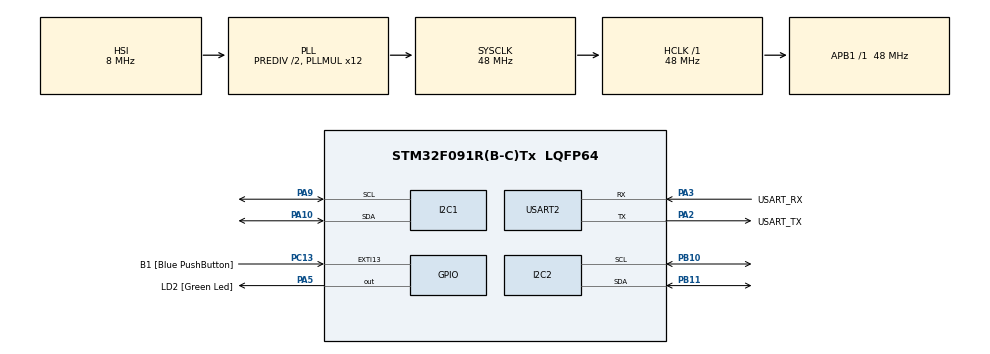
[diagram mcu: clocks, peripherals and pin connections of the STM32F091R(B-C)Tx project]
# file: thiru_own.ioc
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I2C1.Timing=0x00201D2B
I2C2.Timing=0x20303E5D
Mcu.Family=STM32F0
Mcu.Name=STM32F091R(B-C)Tx
Mcu.Package=LQFP64
PA10.Mode=I2C
PA10.Signal=I2C1_SDA
PA13.GPIO_Label=TMS
PA13.Mode=Serial_Wire
PA13.Signal=SYS_SWDIO
PA14.GPIO_Label=TCK
PA14.Mode=Serial_Wire
PA14.Signal=SYS_SWCLK
PA2.GPIO_Label=USART_TX
PA2.GPIO_Mode=GPIO_MODE_AF_PP
PA2.GPIO_PuPd=GPIO_NOPULL
PA2.GPIO_Speed=GPIO_SPEED_FREQ_LOW
PA2.Mode=Asynchronous
PA2.Signal=USART2_TX
PA3.GPIO_Label=USART_RX
PA3.GPIO_Mode=GPIO_MODE_AF_PP
PA3.GPIO_PuPd=GPIO_NOPULL
PA3.GPIO_Speed=GPIO_SPEED_FREQ_LOW
PA3.Mode=Asynchronous
PA3.Signal=USART2_RX
PA5.GPIO_Label=LD2 [Green Led]
PA5.GPIO_Mode=GPIO_MODE_OUTPUT_PP
PA5.GPIO_PuPd=GPIO_NOPULL
PA5.GPIO_Speed=GPIO_SPEED_FREQ_LOW
PA5.Signal=GPIO_Output
PA9.Mode=I2C
PA9.Signal=I2C1_SCL
PB10.Mode=I2C
PB10.Signal=I2C2_SCL
PB11.Mode=I2C
PB11.Signal=I2C2_SDA
PC13.GPIO_Label=B1 [Blue PushButton]
PC13.GPIO_ModeDefaultEXTI=GPIO_MODE_IT_FALLING
PC13.Signal=GPXTI13
PC14OSC32_IN.Mode=LSE-External-Oscillator
PC14OSC32_IN.Signal=RCC_OSC32_IN
PC15OSC32_OUT.Mode=LSE-External-Oscillator
PC15OSC32_OUT.Signal=RCC_OSC32_OUT
PF0-OSC_IN.Mode=HSE-External-Clock-Source
PF0-OSC_IN.Signal=RCC_OSC_IN
PF1-OSC_OUT.Signal=RCC_OSC_OUT
ProjectManager.HeapSize=0x200
ProjectManager.StackSize=0x400
ProjectManager.TargetToolchain=STM32CubeIDE
RCC.AHBFreq_Value=48000000
RCC.APB1Freq_Value=48000000
RCC.APB1TimFreq_Value=48000000
RCC.FLatency-AdvancedSettings=FLASH_LATENCY_1
RCC.HCLKFreq_Value=48000000
RCC.PLLDivider=RCC_PREDIV_DIV2
RCC.PLLMUL=RCC_PLL_MUL12
RCC.PREFETCH_ENABLE-AdvancedSettings=1
RCC.SYSCLKFreq_VALUE=48000000
RCC.SYSCLKSource=RCC_SYSCLKSOURCE_PLLCLK
USART2.VirtualMode=VM_ASYNC
USART2.VirtualMode-Asynchronous=VM_ASYNC
board=NUCLEO-F091RC

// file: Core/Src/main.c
/* USER CODE BEGIN Header */
/**
 ******************************************************************************
 * @file           : main.c
 * @brief          : Main program body
 ******************************************************************************
 * @attention
 *
 * Copyright (c) 2025 STMicroelectronics.
 * All rights reserved.
 *
 * This software is licensed under terms that can be found in the LICENSE file
 * in the root directory of this software component.
 * If no LICENSE file comes with this software, it is provided AS-IS.
 *
 ******************************************************************************
 */
/* USER CODE END Header */
#include "main.h"

/* USER CODE BEGIN Includes */
#include"mpu.h"
#include"bmemain.h"
/* USER CODE END Includes */

/* USER CODE BEGIN PD */
extern MPU6050_t MPU6050;
char uart_buf_2[2000];
/* USER CODE END PD */

extern I2C_HandleTypeDef hi2c1;
extern I2C_HandleTypeDef hi2c2;
extern UART_HandleTypeDef huart2;

void SystemClock_Config(void);
static void MX_GPIO_Init(void);
static void MX_USART2_UART_Init(void);
static void MX_I2C1_Init(void);
static void MX_I2C2_Init(void);

int main(void) {

	/* MCU Configuration--------------------------------------------------------*/

	/* Reset of all peripherals, Initializes the Flash interface and the Systick. */
	HAL_Init();

	/* Configure the system clock */
	SystemClock_Config();

	/* Initialize all configured peripherals */
	MX_GPIO_Init();
	MX_USART2_UART_Init();
	MX_I2C1_Init();
	MX_I2C2_Init();
	/* USER CODE BEGIN 2 */
	MPU6050_Init();
	sprintf(uart_buf_2, "Starting MPU6050 data reading...\r\n");
	HAL_UART_Transmit(&huart2, (uint8_t*) uart_buf_2, strlen(uart_buf_2),
	HAL_MAX_DELAY);
	static uint32_t valid_readings = 0;
	static uint32_t total_readings = 0;

	/* USER CODE END 2 */

	/* Infinite loop */
	/* USER CODE BEGIN WHILE */

	// Initialize and configure BME680
	struct bme680_dev gas_sensor;
	struct bme680_field_data data;

	// Initialize BME680
	if (BME680_Initialize(&gas_sensor) != BME680_OK) {
		while (1)
			; // Halt execution if initialization fails
	}

	// Configure BME680
	if (BME680_Configure(&gas_sensor) != BME680_OK) {
		while (1)
			; // Halt execution if configuration fails
	}

	/* USER CODE END 2 */

	/* Infinite loop */
	/* USER CODE BEGIN WHILE */
	while (1) {
		total_readings++;

		// MPU6050 data reading
		if (MPU6050_Read_All_Safe()) {
			valid_readings++;
			sprintf(uart_buf_2,
					"Acc: X=%.2f, Y=%.2f, Z=%.2f | Gyro: X=%.2f, Y=%.2f, Z=%.2f | Temp=%.2f°C [%lu/%lu]\r\n",
					MPU6050.Ax, MPU6050.Ay, MPU6050.Az, MPU6050.Gx, MPU6050.Gy,
					MPU6050.Gz, MPU6050.Temperature, valid_readings,
					total_readings);
			HAL_UART_Transmit(&huart2, (uint8_t*) uart_buf_2,
					strlen(uart_buf_2), HAL_MAX_DELAY);
		} else {
			sprintf(uart_buf_2,
					"Read failed! [%lu/%lu] Success rate: %.1f%%\r\n",
					valid_readings, total_readings,
					(float) valid_readings * 100.0 / total_readings);
			HAL_UART_Transmit(&huart2, (uint8_t*) uart_buf_2,
					strlen(uart_buf_2), HAL_MAX_DELAY);
		}

		HAL_Delay(125);

		// BME680 data reading
		int8_t rslt = bme680_get_sensor_data(&data, &gas_sensor);
		if (rslt == BME680_OK) {
			sprintf(uart_buf_2,
					"Temperature: %.1f °C, Pressure: %.1f hPa, Humidity: %.1f %%, Gas: %.1f kOhms\r\n",
					data.temperature / 100.0, data.pressure / 100.0,
					data.humidity / 1000.0, data.gas_resistance / 1000.0);
			HAL_UART_Transmit(&huart2, (uint8_t*) uart_buf_2,
					strlen(uart_buf_2), HAL_MAX_DELAY);
		}

		if (gas_sensor.power_mode == BME680_FORCED_MODE) {
			rslt = bme680_set_sensor_mode(&gas_sensor);
		}

		HAL_Delay(1000);
		/* USER CODE END WHILE */
	}
}

void SystemClock_Config(void) {
	RCC_OscInitTypeDef RCC_OscInitStruct = { 0 };
	RCC_ClkInitTypeDef RCC_ClkInitStruct = { 0 };
	RCC_PeriphCLKInitTypeDef PeriphClkInit = { 0 };

	/** Initializes the RCC Oscillators according to the specified parameters
	 * in the RCC_OscInitTypeDef structure.
	 */
	RCC_OscInitStruct.OscillatorType = RCC_OSCILLATORTYPE_HSI;
	RCC_OscInitStruct.HSIState = RCC_HSI_ON;
	RCC_OscInitStruct.HSICalibrationValue = RCC_HSICALIBRATION_DEFAULT;
	RCC_OscInitStruct.PLL.PLLState = RCC_PLL_ON;
	RCC_OscInitStruct.PLL.PLLSource = RCC_PLLSOURCE_HSI;
	RCC_OscInitStruct.PLL.PLLMUL = RCC_PLL_MUL12;
	RCC_OscInitStruct.PLL.PREDIV = RCC_PREDIV_DIV2;
	if (HAL_RCC_OscConfig(&RCC_OscInitStruct) != HAL_OK) {
		Error_Handler();
	}

	/** Initializes the CPU, AHB and APB buses clocks
	 */
	RCC_ClkInitStruct.ClockType = RCC_CLOCKTYPE_HCLK | RCC_CLOCKTYPE_SYSCLK
			| RCC_CLOCKTYPE_PCLK1;
	RCC_ClkInitStruct.SYSCLKSource = RCC_SYSCLKSOURCE_PLLCLK;
	RCC_ClkInitStruct.AHBCLKDivider = RCC_SYSCLK_DIV1;
	RCC_ClkInitStruct.APB1CLKDivider = RCC_HCLK_DIV1;

	if (HAL_RCC_ClockConfig(&RCC_ClkInitStruct, FLASH_LATENCY_1) != HAL_OK) {
		Error_Handler();
	}
	PeriphClkInit.PeriphClockSelection = RCC_PERIPHCLK_USART2
			| RCC_PERIPHCLK_I2C1;
	PeriphClkInit.Usart2ClockSelection = RCC_USART2CLKSOURCE_PCLK1;
	PeriphClkInit.I2c1ClockSelection = RCC_I2C1CLKSOURCE_HSI;
	if (HAL_RCCEx_PeriphCLKConfig(&PeriphClkInit) != HAL_OK) {
		Error_Handler();
	}
}

static void MX_I2C1_Init(void) {

	hi2c1.Instance = I2C1;
	hi2c1.Init.Timing = 0x00201D2B;
	hi2c1.Init.OwnAddress1 = 0;
	hi2c1.Init.AddressingMode = I2C_ADDRESSINGMODE_7BIT;
	hi2c1.Init.DualAddressMode = I2C_DUALADDRESS_DISABLE;
	hi2c1.Init.OwnAddress2 = 0;
	hi2c1.Init.OwnAddress2Masks = I2C_OA2_NOMASK;
	hi2c1.Init.GeneralCallMode = I2C_GENERALCALL_DISABLE;
	hi2c1.Init.NoStretchMode = I2C_NOSTRETCH_DISABLE;
	if (HAL_I2C_Init(&hi2c1) != HAL_OK) {
		Error_Handler();
	}

	/** Configure Analogue filter
	 */
	if (HAL_I2CEx_ConfigAnalogFilter(&hi2c1, I2C_ANALOGFILTER_ENABLE)
			!= HAL_OK) {
		Error_Handler();
	}

	/** Configure Digital filter
	 */
	if (HAL_I2CEx_ConfigDigitalFilter(&hi2c1, 0) != HAL_OK) {
		Error_Handler();
	}

}

static void MX_I2C2_Init(void) {

	hi2c2.Instance = I2C2;
	hi2c2.Init.Timing = 0x20303E5D;
	hi2c2.Init.OwnAddress1 = 0;
	hi2c2.Init.AddressingMode = I2C_ADDRESSINGMODE_7BIT;
	hi2c2.Init.DualAddressMode = I2C_DUALADDRESS_DISABLE;
	hi2c2.Init.OwnAddress2 = 0;
	hi2c2.Init.OwnAddress2Masks = I2C_OA2_NOMASK;
	hi2c2.Init.GeneralCallMode = I2C_GENERALCALL_DISABLE;
	hi2c2.Init.NoStretchMode = I2C_NOSTRETCH_DISABLE;
	if (HAL_I2C_Init(&hi2c2) != HAL_OK) {
		Error_Handler();
	}

	/** Configure Analogue filter
	 */
	if (HAL_I2CEx_ConfigAnalogFilter(&hi2c2, I2C_ANALOGFILTER_ENABLE)
			!= HAL_OK) {
		Error_Handler();
	}

	/** Configure Digital filter
	 */
	if (HAL_I2CEx_ConfigDigitalFilter(&hi2c2, 0) != HAL_OK) {
		Error_Handler();
	}

}

static void MX_USART2_UART_Init(void) {

	huart2.Instance = USART2;
	huart2.Init.BaudRate = 115200;
	huart2.Init.WordLength = UART_WORDLENGTH_8B;
	huart2.Init.StopBits = UART_STOPBITS_1;
	huart2.Init.Parity = UART_PARITY_NONE;
	huart2.Init.Mode = UART_MODE_TX_RX;
	huart2.Init.HwFlowCtl = UART_HWCONTROL_NONE;
	huart2.Init.OverSampling = UART_OVERSAMPLING_16;
	huart2.Init.OneBitSampling = UART_ONE_BIT_SAMPLE_DISABLE;
	huart2.AdvancedInit.AdvFeatureInit = UART_ADVFEATURE_NO_INIT;
	if (HAL_UART_Init(&huart2) != HAL_OK) {
		Error_Handler();
	}

}

static void MX_GPIO_Init(void) {
	GPIO_InitTypeDef GPIO_InitStruct = { 0 };

	/* GPIO Ports Clock Enable */
	__HAL_RCC_GPIOC_CLK_ENABLE();
	__HAL_RCC_GPIOF_CLK_ENABLE();
	__HAL_RCC_GPIOA_CLK_ENABLE();
	__HAL_RCC_GPIOB_CLK_ENABLE();

	/*Configure GPIO pin Output Level */
	HAL_GPIO_WritePin(LD2_GPIO_Port, LD2_Pin, GPIO_PIN_RESET);

	/*Configure GPIO pin : B1_Pin */
	GPIO_InitStruct.Pin = B1_Pin;
	GPIO_InitStruct.Mode = GPIO_MODE_IT_FALLING;
	GPIO_InitStruct.Pull = GPIO_NOPULL;
	HAL_GPIO_Init(B1_GPIO_Port, &GPIO_InitStruct);

	/*Configure GPIO pin : LD2_Pin */
	GPIO_InitStruct.Pin = LD2_Pin;
	GPIO_InitStruct.Mode = GPIO_MODE_OUTPUT_PP;
	GPIO_InitStruct.Pull = GPIO_NOPULL;
	GPIO_InitStruct.Speed = GPIO_SPEED_FREQ_LOW;
	HAL_GPIO_Init(LD2_GPIO_Port, &GPIO_InitStruct);

}

void Error_Handler(void) {
	__disable_irq();
	while (1) {
	}
}
